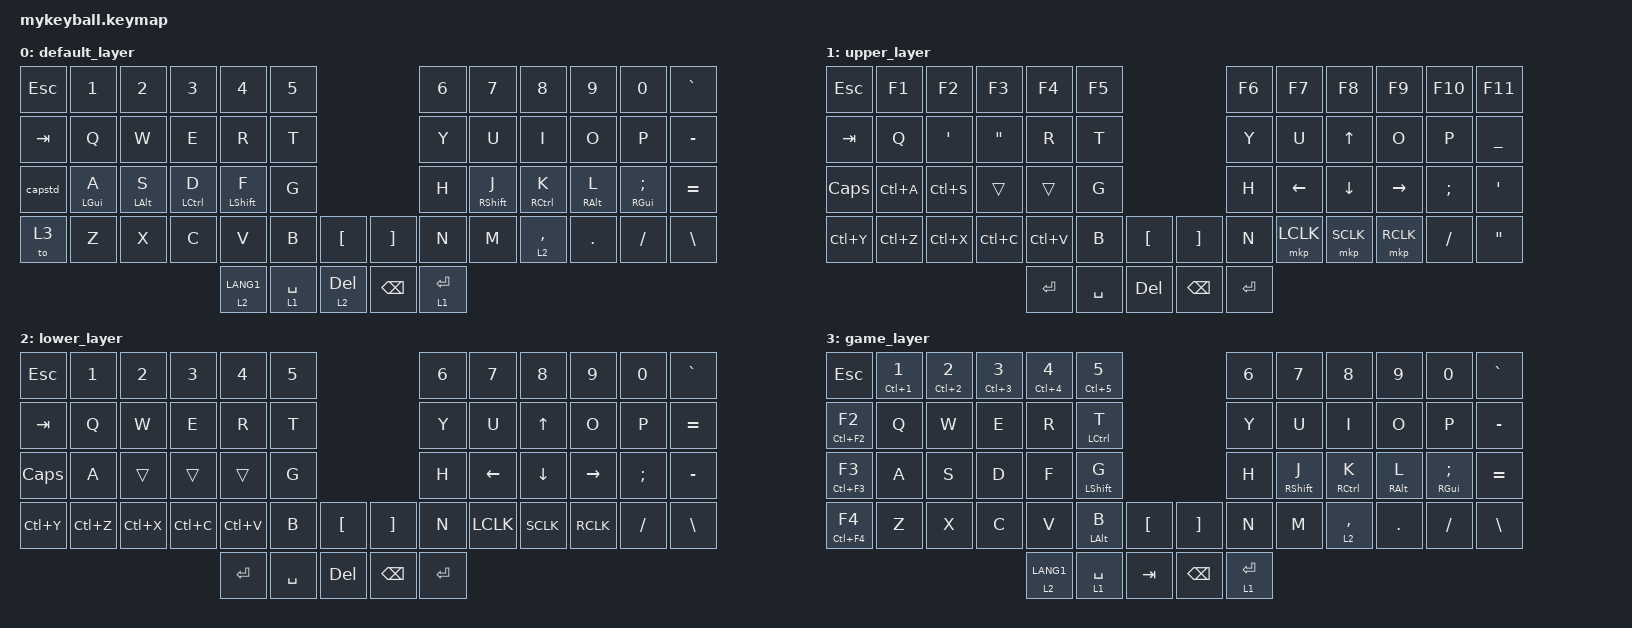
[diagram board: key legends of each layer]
 /*
 * Copyright (c) 2020 The ZMK Contributors
 *
 * SPDX-License-Identifier: MIT
 */

#include <behaviors.dtsi>
#include <dt-bindings/zmk/keys.h>
#include <dt-bindings/zmk/bt.h>
#include <dt-bindings/zmk/ext_power.h>
#include <dt-bindings/zmk/mouse.h>

#include <behaviors/mouse_keys.dtsi>
#define DEFAULT 0
#define UPPER 1
#define LOWER 2
#define GAME 3

#define NUM_L 1 2 3 4 5
#define NUM_R 6 7 8 9 10

#define ALPHA_L 13 14 15 16 17 \
                25 26 27 28 29 \
                37 38 39 40 41 42
#define ALPHA_R 18 19 20 21 22 \
                30 31 32 33 34 \
             43 44 45 46 47 48

#define MACRO_L 0 12 24 36
#define MACRO_R 11 23 35 49

#define THUMBS 50 51 52 53 54

/ {
    combos {
        compatible = "zmk,combos";
        // symbols
        combo_sqt {
            timeout-ms = <50>;
            key-positions = <14 15>;
            layers = <1>;
            bindings = <&kp SQT>;
        };
        combo_dqt {
            timeout-ms = <50>;
            key-positions = <15 16>;
            layers = <1>;
            bindings = <&kp DQT>;
        };
        combo_lpar {
            timeout-ms = <50>;
            key-positions = <19 20>;
            layers = <1>;
            bindings = <&kp LPAR>;
        };
        combo_rpar {
            timeout-ms = <50>;
            key-positions = <20 21>;
            layers = <1>;
            bindings = <&kp RPAR>;
        };
        combo_lbkt {
            timeout-ms = <50>;
            key-positions = <31 32>;
            layers = <1>;
            bindings = <&kp LBKT>;
        };
        combo_rbkt {
            timeout-ms = <50>;
            key-positions = <32 33>;
            layers = <1>;
            bindings = <&kp RBKT>;
        };
        combo_lbrc {
            timeout-ms = <50>;
            key-positions = <45 46>;
            layers = <1>;
            bindings = <&kp LBRC>;
        };
        combo_rbrc {
            timeout-ms = <50>;
            key-positions = <46 47>;
            layers = <1>;
            bindings = <&kp RBRC>;
        }; 

        combo_gamelayer {
            timeout-ms = <50>;
            key-positions = <0 1>;
            bindings = <&tog 3>;
        };
    };

    behaviors {
        bhml: balanced_homerow_left {
            compatible = "zmk,behavior-hold-tap";
            #binding-cells = <2>;
            flavor = "balanced";
            tapping-term-ms = <230>;
            quick-tap-ms = <175>;                // repeat on tap-into-hold
            require-prior-idle-ms = <80>;
            bindings = <&kp>, <&kp>;
            hold-trigger-key-positions = <NUM_R ALPHA_R MACRO_R THUMBS>;    // <---[[the W key]]
            hold-trigger-on-release;
        };

        bhmr: balanced_homerow_right {
            compatible = "zmk,behavior-hold-tap";
            #binding-cells = <2>;
            flavor = "balanced";
            tapping-term-ms = <230>;
            quick-tap-ms = <175>;                // repeat on tap-into-hold
            require-prior-idle-ms = <80>;
            bindings = <&kp>, <&kp>;
            hold-trigger-key-positions = <NUM_L ALPHA_L MACRO_L THUMBS>;    // <---[[the W key]]
            hold-trigger-on-release;
        };
 
        capstd: tap_dance_caps {
            compatible = "zmk,behavior-tap-dance";
            #binding-cells = <0>;
            tapping-term-ms = <180>;
            bindings = <&caps_word>, <&kp CAPS>;
        };

        alttabtd: tap_dance_alttab {
            compatible = "zmk,behavior-tap-dance";
            #binding-cells = <0>;
            tapping-term-ms = <180>;
            bindings = <&kp TAB>, <&kp LA(TAB)>;
        };
    };

    keymap {
        compatible = "zmk,keymap";
 
        default_layer {
// ------------------------------------------------------------------------------------------------------------
// |  ESC  |  1  |  2  |  3   |  4   |  5   |                   |  6   |  7    |  8    |  9   |   0   |   `   |
// |  TAB  |  Q  |  W  |  E   |  R   |  T   |                   |  Y   |  U    |  I    |  O   |   P   |   -   |
// |  CTRL |  A  |  S  |  D   |  F   |  G   |                   |  H   |  J    |  K    |  L   |   ;   |   '   |
// | SHIFT |  Z  |  X  |  C   |  V   |  B   |   "["  |  |  "]"  |  N   |  M    |  ,    |  .   |   /   | SHIFT |
//                     | ALT  | GUI  | LOWER|  SPACE |  | ENTER | RAISE| BSPC  | GUI   |
            bindings = <
&kp ESC   &kp N1        &kp N2        &kp N3         &kp N4          &kp N5                   /**/            &kp N6     &kp N7          &kp N8         &kp N9        &kp N0           &kp GRAVE
&kp TAB   &kp Q         &kp W         &kp E          &kp R           &kp T                    /**/            &kp Y      &kp U           &kp I          &kp O         &kp P            &kp MINUS
&capstd   &bhml LGUI A  &bhml LALT S  &bhml LCTRL D  &bhml LSHIFT F  &kp G                    /**/            &kp H      &bhmr RSHIFT J  &bhmr RCTRL K  &bhmr RALT L  &bhmr RGUI SEMI  &kp EQUAL
&to 3     &kp Z         &kp X         &kp C          &kp V           &kp B        &kp LBKT    /**/   &kp RBKT &kp N      &kp M           &lt 2 COMMA    &kp DOT       &kp FSLH         &kp BSLH
                                                     &lt 2 LANG1     &lt 1 SPACE  &lt 2 DEL   /**/   &kp BSPC &lt 1 RET                             
            >;
        };

        upper_layer {
            bindings = <
&kp ESC    &kp F1     &kp F2      &kp F3     &kp F4     &kp F5             /**/           &kp F6  &kp F7     &kp F8    &kp F9     &kp F10   &kp F11
&kp TAB    &kp Q      &kp SQT     &kp DQT    &kp R      &kp T              /**/           &kp Y   &kp U      &kp UP    &kp O      &kp P     &kp UNDER
&kp CAPS   &kp LC(A)  &kp LC(S)   &trans     &trans     &kp G              /**/           &kp H   &kp LEFT   &kp DOWN  &kp RIGHT  &kp SEMI  &kp SQT
&kp LC(Y)  &kp LC(Z)  &kp LC(X)   &kp LC(C)  &kp LC(V)  &kp B     &kp LBKT /**/  &kp RBKT &kp N   &mkp LCLK  &mkp SCLK  &mkp RCLK  &kp FSLH  &kp DQT 
&kp RET    &kp SPACE &kp DEL  /**/  &kp BSPC &kp RET                             
            >;
        };

        lower_layer {
            bindings = <
&kp ESC    &kp N1     &kp N2      &kp N3         &kp N4        &kp N5       /**/        &kp N6 &kp N7        &kp N8        &kp N9       &kp N0   &kp GRAVE
&kp TAB    &kp Q      &kp W       &kp E         &kp R         &kp T        /**/        &kp Y  &kp U         &kp UP         &kp O        &kp P    &kp EQUAL
&kp CAPS   &kp A      &trans      &trans     &trans     &kp G        /**/        &kp H    &kp LEFT  &kp DOWN &kp RIGHT &kp SEMI   &kp MINUS
&kp LC(Y)  &kp LC(Z)  &kp LC(X)   &kp LC(C)  &kp LC(V)  &kp B     &kp LBKT /**/  &kp RBKT &kp N         &kp LCLK     &kp SCLK    &kp RCLK  &kp FSLH &kp BSLH
                                             &kp RET    &kp SPACE &kp DEL  /**/  &kp BSPC &kp RET                             
            >;
        };

        game_layer {
            bindings = <
&kp ESC         &bhml LC(N1) N1  &bhml LC(N2) N2  &bhml LC(N3) N3  &bhml LC(N4) N4  &bhml LC(N5) N5            /**/            &kp N6     &kp N7        &kp N8        &kp N9       &kp N0         &kp GRAVE
&bhml LC(F2) F2  &kp Q           &kp W           &kp E           &kp R           &bhml LCTRL T              /**/            &kp Y      &kp U         &kp I         &kp O        &kp P          &kp MINUS
&bhml LC(F3) F3  &kp A           &kp S           &kp D           &kp F           &bhml LSHIFT G             /**/            &kp H      &bhmr RSHFT J  &bhmr RCTRL K  &bhmr RALT L  &bhmr RGUI SEMI &kp EQUAL
&bhml LC(F4) F4  &kp Z           &kp X           &kp C           &kp V           &bhml LALT B     &kp LBKT  /**/   &kp RBKT &kp N      &kp M         &lt 2 COMMA   &kp DOT      &kp FSLH       &kp BSLH
                                                                &lt 2 LANG1     &lt 1 SPACE     &kp TAB   /**/   &kp BSPC &lt 1 RET                             
            >;
        };
    };
};
